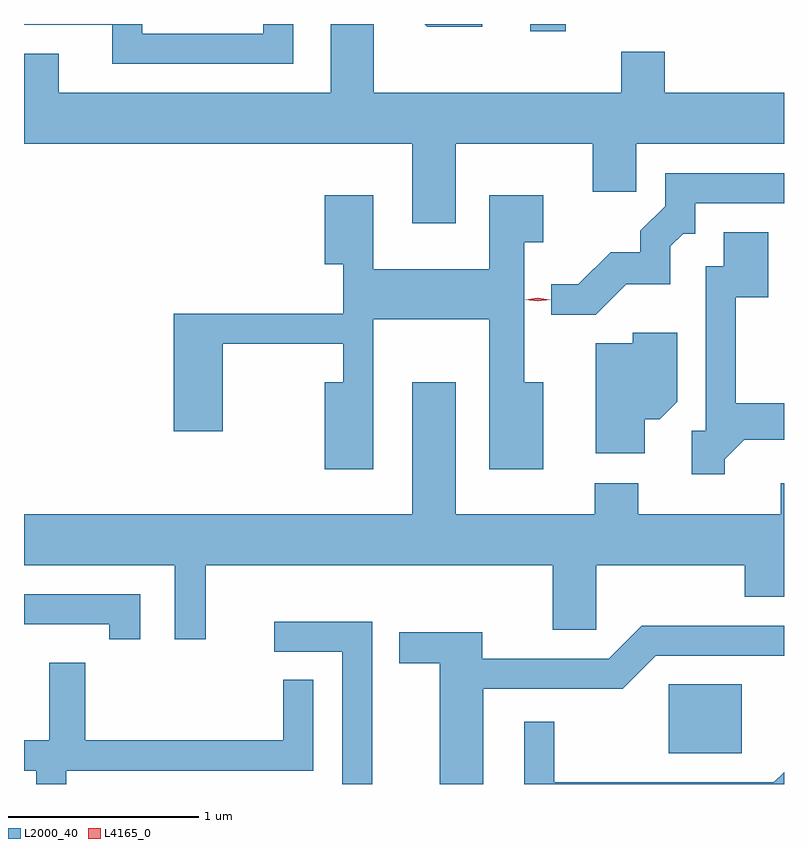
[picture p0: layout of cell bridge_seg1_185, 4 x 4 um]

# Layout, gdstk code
import gdstk
lib = gdstk.Library(unit=1e-6, precision=1e-09)
def R(c, l, rs):  # rectangles x0, y0, x1, y1
    for r in rs: c.add(gdstk.rectangle(r[:2], r[2:], *l))
def P(c, l, *ps):  # polygons
    for p in ps: c.add(gdstk.Polygon(p, *l))
L2000_40 = (2000, 40)
L4165_0 = (4165, 0)

bridge_seg1_185 = lib.new_cell('bridge_seg1_185')
R(bridge_seg1_185, L2000_40, [(707.011,958.526,707.394,958.889), (706.281,962.326,706.469,962.365)])
P(bridge_seg1_185, L2000_40, [(706.028,962.365),(705.725,962.365),(705.739,962.351),(706.028,962.351)],
  [(705.034,962.365),(704.876,962.365),(704.876,962.314),(704.239,962.314),(704.239,962.365),(703.617,962.365),(703.617,962.361),(704.081,962.361),(704.081,962.156),(705.034,962.156)],
  [(705.889,961.736),(706.611,961.736),(706.611,961.481),(706.839,961.481),(706.839,961.736),(707.617,961.736),(707.617,962.004),(706.989,962.004),(706.989,962.219),(706.761,962.219),(706.761,962.004),(705.459,962.004),(705.459,962.365),(705.231,962.365),(705.231,962.004),(703.799,962.004),(703.799,962.209),(703.617,962.209),(703.617,961.736),(705.661,961.736),(705.661,961.316),(705.889,961.316)],
  [(706.787,960.996),(707.019,960.996),(707.019,961.194),(707.087,961.261),(707.149,961.261),(707.149,961.421),(707.617,961.421),(707.617,961.579),(706.991,961.579),(706.991,961.407),(706.861,961.277),(706.861,961.164),(706.704,961.164),(706.534,960.994),(706.393,960.994),(706.393,960.836),(706.627,960.836)],
  [(705.454,960.811),(706.066,960.811),(706.066,960.021),(706.349,960.021),(706.349,960.479),(706.249,960.479),(706.249,961.216),(706.349,961.216),(706.349,961.464),(706.066,961.464),(706.066,961.074),(705.454,961.074),(705.454,961.464),(705.201,961.464),(705.201,961.101),(705.296,961.101),(705.296,960.839),(704.406,960.839),(704.406,960.221),(704.664,960.221),(704.664,960.681),(705.296,960.681),(705.296,960.479),(705.201,960.479),(705.201,960.021),(705.454,960.021)],
  [(707.304,960.074),(707.407,960.176),(707.617,960.176),(707.617,960.369),(707.364,960.369),(707.364,960.926),(707.534,960.926),(707.534,961.269),(707.301,961.269),(707.301,961.089),(707.206,961.089),(707.206,960.224),(707.131,960.224),(707.131,959.996),(707.304,959.996)],
  [(706.884,960.286),(706.964,960.286),(707.054,960.377),(707.054,960.739),(706.821,960.739),(706.821,960.684),(706.626,960.684),(706.626,960.106),(706.884,960.106)],
  [(704.574,959.516),(706.401,959.516),(706.401,959.176),(706.629,959.176),(706.629,959.516),(707.411,959.516),(707.411,959.351),(707.617,959.351),(707.617,959.949),(707.601,959.949),(707.601,959.784),(706.849,959.784),(706.849,959.949),(706.621,959.949),(706.621,959.784),(705.889,959.784),(705.889,960.479),(705.661,960.479),(705.661,959.784),(703.617,959.784),(703.617,959.516),(704.411,959.516),(704.411,959.128),(704.574,959.128)],
  [(704.229,959.364),(703.617,959.364),(703.617,959.206),(704.066,959.206),(704.066,959.128),(704.229,959.128)],
  [(705.449,959.219),(704.933,959.219),(704.933,959.061),(705.291,959.061),(705.291,958.365),(705.449,958.365)],
  [(706.034,958.866),(706.767,958.866),(706.942,959.041),(707.617,959.041),(707.617,959.199),(706.869,959.199),(706.694,959.024),(706.029,959.024),(706.029,959.164),(705.593,959.164),(705.593,959.001),(705.806,959.001),(705.806,958.365),(706.034,958.365)],
  [(703.839,958.436),(705.139,958.436),(705.139,958.913),(704.981,958.913),(704.981,958.594),(703.939,958.594),(703.939,959.004),(703.751,959.004),(703.751,958.594),(703.617,958.594),(703.617,958.436),(703.681,958.436),(703.681,958.365),(703.839,958.365)],
  [(707.617,958.428),(707.564,958.374),(706.409,958.374),(706.409,958.693),(706.251,958.693),(706.251,958.365),(707.617,958.365)])
P(bridge_seg1_185, L4165_0, [(706.322,960.905),(706.256,960.914),(706.256,960.915),(706.256,960.915),(706.322,960.925),(706.387,960.915),(706.387,960.915),(706.387,960.914)])

lib.write_gds('bridge_seg1_185.gds')
